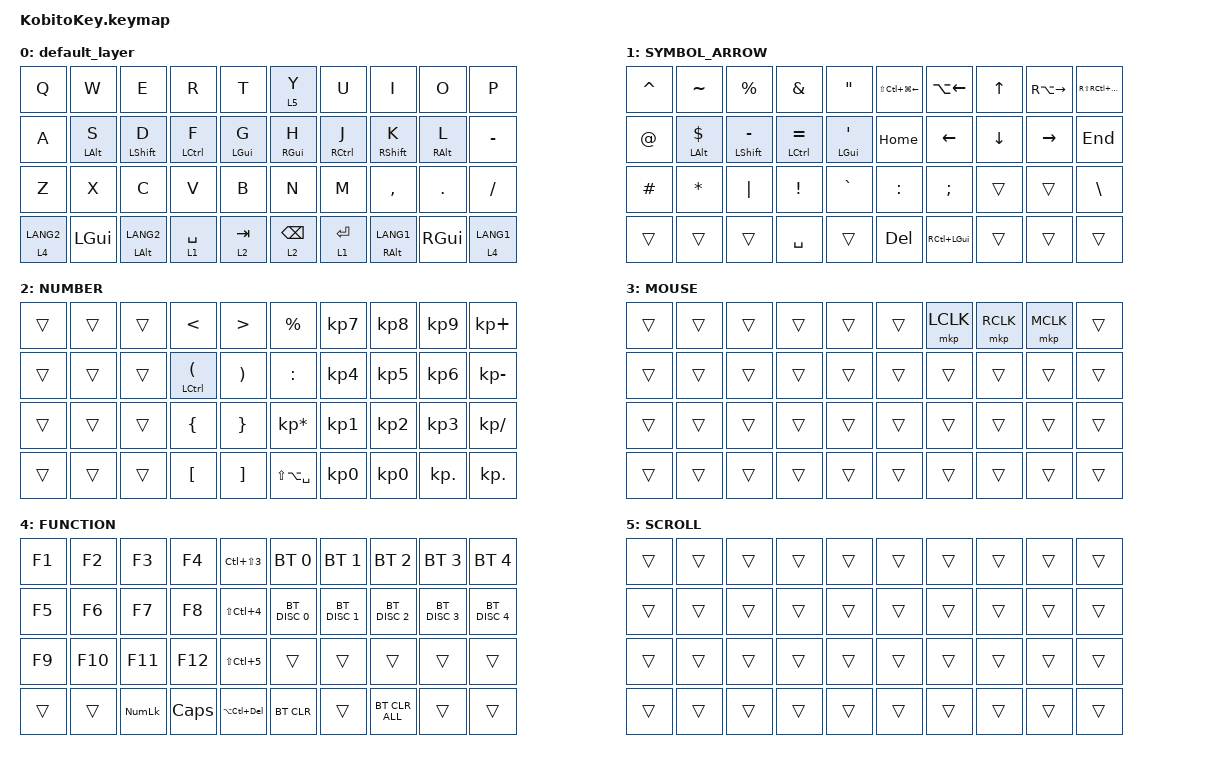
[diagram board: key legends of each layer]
#include <input/processors.dtsi>
#include <behaviors.dtsi>
#include <dt-bindings/zmk/bt.h>
#include <dt-bindings/zmk/keys.h>
#include <dt-bindings/zmk/pointing.h>

&mt {
    quick-tap-ms = <0>;
    require-prior-idle-ms = <125>;
    flavor = "tap-preferred";
};

&lt {
    quick-tap-ms = <200>;
    require-prior-idle-ms = <125>;
    flavor = "balanced";
};

/ {
    behaviors {
        hmr_l: hmr_l {
            compatible = "zmk,behavior-hold-tap";
            label = "HMR_L";
            bindings = <&kp>, <&kp>;

            #binding-cells = <2>;
            tapping-term-ms = <400>;
            flavor = "balanced";
            hold-trigger-key-positions = <5 6 7 8 9 15 16 17 18 19 25 26 27 28 29 30 31 32 33 34 35 36 37 38 39>;
            hold-trigger-on-release;
            require-prior-idle-ms = <150>;
            hold-while-undecided;
        };

        hmr_r: hmr_r {
            compatible = "zmk,behavior-hold-tap";
            label = "HMR_R";
            bindings = <&kp>, <&kp>;

            #binding-cells = <2>;
            tapping-term-ms = <400>;
            flavor = "balanced";
            hold-trigger-key-positions = <0 1 2 3 4 10 11 12 13 14 20 21 22 23 24 30 31 32 33 34 36 35 37 39 38>;
            hold-trigger-on-release;
            require-prior-idle-ms = <150>;
            hold-while-undecided;
        };

        lt_scroll: lt_scroll {
            compatible = "zmk,behavior-hold-tap";
            label = "LT_SCROLL";
            bindings = <&mo>, <&kp>;

            #binding-cells = <2>;
            tapping-term-ms = <200>;
            flavor = "balanced";
            require-prior-idle-ms = <125>;
            hold-while-undecided;
        };

        hmr_l2: hmr_l2 {
            compatible = "zmk,behavior-hold-tap";
            label = "HMR_L2";
            bindings = <&kp>, <&kp>;

            #binding-cells = <2>;
            tapping-term-ms = <400>;
            flavor = "balanced";
            hold-trigger-key-positions = <5 6 7 8 9 15 16 17 18 19 25 26 27 28 29 30 31 32 33 34 35 36 37 38 39>;
            hold-trigger-on-release;
            require-prior-idle-ms = <150>;
        };

        hmr_r2: hmr_r2 {
            compatible = "zmk,behavior-hold-tap";
            label = "HMR_R2";
            bindings = <&kp>, <&kp>;

            #binding-cells = <2>;
            tapping-term-ms = <400>;
            flavor = "balanced";
            hold-trigger-key-positions = <0 1 2 3 4 10 11 12 13 14 20 21 22 23 24 30 31 32 33 34 36 35 37 39 38>;
            hold-trigger-on-release;
            require-prior-idle-ms = <150>;
        };
    };

    combos {
        compatible = "zmk,combos";

        combo_esc {
            timeout-ms = <50>;
            key-positions = <0 1>;
            bindings = <&kp ESC>;
        };

        combo_colon {
            bindings = <&kp COLON>;
            key-positions = <14 24>;
        };

        combo_semicolon {
            bindings = <&kp SEMICOLON>;
            key-positions = <15 25>;
        };

        combo_comma {
            bindings = <&kp COMMA>;
            key-positions = <4 14>;
        };

        combo_period {
            bindings = <&kp PERIOD>;
            key-positions = <5 15>;
        };

        combo_shift_L {
            bindings = <&kp LEFT_SHIFT>;
            key-positions = <33 34>;
        };

        combo_shift_R {
            bindings = <&kp RIGHT_SHIFT>;
            key-positions = <35 36>;
        };

        to_0 {
            bindings = <&to 0>;
            key-positions = <6 7 8>;
        };
    };

    keymap {
        compatible = "zmk,keymap";

        default_layer {
            bindings = <
&kp Q        &kp W               &kp E                &kp R                  &kp T               &lt_scroll 5 Y       &kp U                   &kp I                 &kp O                &kp P
&kp A        &hmr_l2 LEFT_ALT S  &hmr_l LEFT_SHIFT D  &hmr_l LEFT_CONTROL F  &hmr_l2 LEFT_GUI G  &hmr_r2 RIGHT_GUI H  &hmr_r RIGHT_CONTROL J  &hmr_r RIGHT_SHIFT K  &hmr_r2 RIGHT_ALT L  &kp MINUS
&kp Z        &kp X               &kp C                &kp V                  &kp B               &kp N                &kp M                   &kp COMMA             &kp PERIOD           &kp SLASH
&lt 4 LANG2  &kp LEFT_GUI        &mt LEFT_ALT LANG2   &lt 1 SPACE            &lt 2 TAB           &lt 2 BACKSPACE      &lt 1 ENTER             &mt RIGHT_ALT LANG1   &kp RIGHT_GUI        &lt 4 LANG1
            >;
        };

        SYMBOL_ARROW {
            label = "SYMBOL_ARROW";
            bindings = <
&kp CARET    &kp TILDE                &kp PERCENT              &kp AMPERSAND              &kp DOUBLE_QUOTES              &kp LS(LC(LG(LEFT)))  &kp LA(LEFT)      &kp UP    &kp RA(RIGHT)  &kp RS(RC(RG(RIGHT)))
&kp AT_SIGN  &hmr_l2 LEFT_ALT DOLLAR  &hmr_l LEFT_SHIFT MINUS  &hmr_l LEFT_CONTROL EQUAL  &hmr_l2 LEFT_GUI SINGLE_QUOTE  &kp HOME              &kp LEFT          &kp DOWN  &kp RIGHT      &kp END
&kp HASH     &kp ASTERISK             &kp PIPE                 &kp EXCLAMATION            &kp GRAVE                      &kp COLON             &kp SEMICOLON     &trans    &trans         &kp BACKSLASH
&trans       &trans                   &trans                   &kp SPACE                  &trans                         &kp DELETE            &kp RC(LEFT_GUI)  &trans    &trans         &trans
            >;
        };

        NUMBER {
            label = "NUMBER";
            bindings = <
&trans  &trans  &trans  &kp LESS_THAN                         &kp GREATER_THAN       &kp PERCENT        &kp KP_N7  &kp KP_N8  &kp KP_N9   &kp KP_PLUS
&trans  &trans  &trans  &hmr_l LEFT_CONTROL LEFT_PARENTHESIS  &kp RIGHT_PARENTHESIS  &kp COLON          &kp KP_N4  &kp KP_N5  &kp KP_N6   &kp KP_MINUS
&trans  &trans  &trans  &kp LEFT_BRACE                        &kp RIGHT_BRACE        &kp KP_MULTIPLY    &kp KP_N1  &kp KP_N2  &kp KP_N3   &kp KP_SLASH
&trans  &trans  &trans  &kp LEFT_BRACKET                      &kp RIGHT_BRACKET      &kp LS(LA(SPACE))  &kp KP_N0  &kp KP_N0  &kp KP_DOT  &kp KP_DOT
            >;
        };

        MOUSE {
            label = "MOUSE";
            bindings = <
&trans  &trans  &trans  &trans  &trans  &trans  &mkp LCLK  &mkp RCLK  &mkp MCLK  &trans
&trans  &trans  &trans  &trans  &trans  &trans  &trans     &trans     &trans     &trans
&trans  &trans  &trans  &trans  &trans  &trans  &trans     &trans     &trans     &trans
&trans  &trans  &trans  &trans  &trans  &trans  &trans     &trans     &trans     &trans
            >;
        };

        FUNCTION {
            label = "FUNCTION";
            bindings = <
&kp F1  &kp F2   &kp F3          &kp F4        &kp LC(LS(NUMBER_3))  &bt BT_SEL 0   &bt BT_SEL 1   &bt BT_SEL 2    &bt BT_SEL 3   &bt BT_SEL 4
&kp F5  &kp F6   &kp F7          &kp F8        &kp LS(LC(NUMBER_4))  &bt BT_DISC 0  &bt BT_DISC 1  &bt BT_DISC 2   &bt BT_DISC 3  &bt BT_DISC 4
&kp F9  &kp F10  &kp F11         &kp F12       &kp LS(LC(N5))        &trans         &trans         &trans          &trans         &trans
&trans  &trans   &kp KP_NUMLOCK  &kp CAPSLOCK  &kp LA(LC(DELETE))    &bt BT_CLR     &trans         &bt BT_CLR_ALL  &trans         &trans
            >;
        };

        SCROLL {
            bindings = <
&trans  &trans  &trans  &trans  &trans  &trans  &trans  &trans  &trans  &trans
&trans  &trans  &trans  &trans  &trans  &trans  &trans  &trans  &trans  &trans
&trans  &trans  &trans  &trans  &trans  &trans  &trans  &trans  &trans  &trans
&trans  &trans  &trans  &trans  &trans  &trans  &trans  &trans  &trans  &trans
            >;
        };
    };
};
